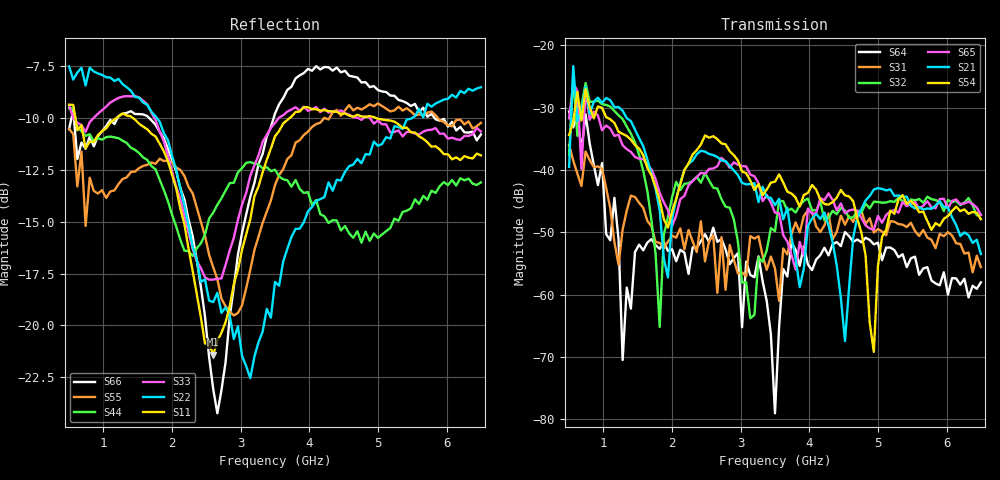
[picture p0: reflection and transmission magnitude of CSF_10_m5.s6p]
!Keysight Technologies,M9804A,MY58100912,A.14.10.03
!Date: Thursday, April 27, 2023 10:28:33
!Correction: S11(C  6-Port  )
!S12(C  6-Port  )
!S13(C  6-Port  )
!S14(C  6-Port  )
!S15(C  6-Port  )
!S16(C  6-Port  )
!S21(C  6-Port  )
!S22(C  6-Port  )
!S23(C  6-Port  )
!S24(C  6-Port  )
!S25(C  6-Port  )
!S26(C  6-Port  )
!S31(C  6-Port  )
!S32(C  6-Port  )
!S33(C  6-Port  )
!S34(C  6-Port  )
!S35(C  6-Port  )
!S36(C  6-Port  )
!S41(C  6-Port  )
!S42(C  6-Port  )
!S43(C  6-Port  )
!S44(C  6-Port  )
!S45(C  6-Port  )
!S46(C  6-Port  )
!S51(C  6-Port  )
!S52(C  6-Port  )
!S53(C  6-Port  )
!S54(C  6-Port  )
!S55(C  6-Port  )
!S56(C  6-Port  )
!S61(C  6-Port  )
!S62(C  6-Port  )
!S63(C  6-Port  )
!S64(C  6-Port  )
!S65(C  6-Port  )
!S66(C  6-Port  )
!S6P File: Measurement: :
# Hz S  RI  R 50
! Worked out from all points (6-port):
!   101 points, 500 MHz to 6.5 GHz, reference 50 ohm
!   strongest paths, dB at 500 MHz, 2 GHz, 3.5 GHz, 5 GHz, 6.5 GHz:
!     S54: -34.4, -46.7, -41.9, -55.4, -47.9
!     S21: -39.5, -47.9, -45.7, -42.9, -53.5
!     S65: -31.7, -49.0, -46.9, -47.4, -47.2
!     S32: -37.6, -44.4, -49.8, -45.1, -47.2
!     S31: -36.0, -50.6, -55.8, -49.5, -55.6
!     S64: -30.6, -52.7, -79.1, -51.7, -58.0
!   lowest |S11| = -21.4 dB at 2.6 GHz (marker M1), VSWR 1.19, Z = 42.5 + j2.19 ohm
!   |S11| at or under -10 dB: 591 MHz to 1.188 GHz (597.4 MHz wide, 67.1 % of centre); 1.431 GHz to 3.714 GHz (2.283 GHz wide, 88.8 % of centre); 4.973 GHz to end of sweep
